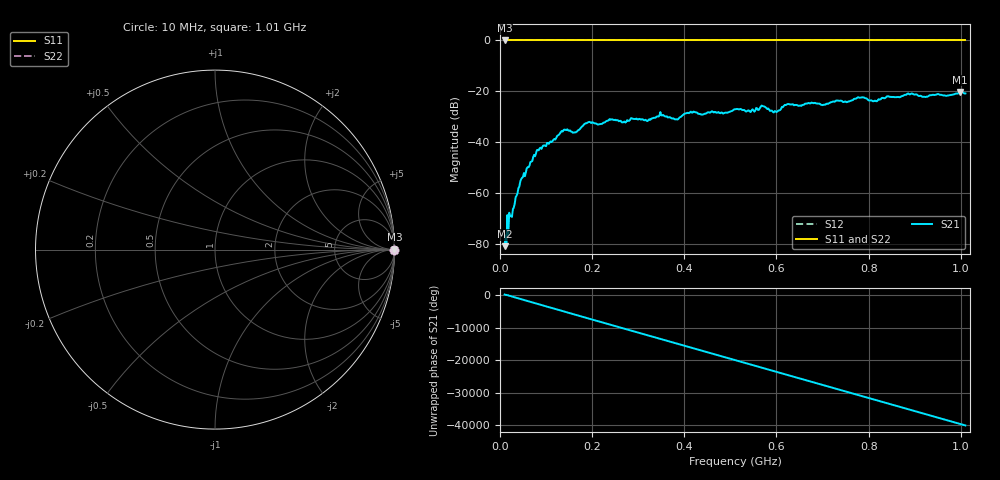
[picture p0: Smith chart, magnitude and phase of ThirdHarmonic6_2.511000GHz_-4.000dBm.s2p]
! 8/17/2025 4:52:44 AM
! C:\ANRITSUVNA\TEMP\TEMP.S2P
! CHANNEL.1
! TR.MEASUREMENT
! RAW.DATA
! RF.CORRECTION.OFF
! AVERAGING.OFF
! IF.BANDWIDTH: 5KHZ
! SWEEPTYPE:  FREQ.SWEEP(Linear)
! Reference Plane Port Info
! PORT:  PORT1  PORT2
! DISTANCE:  0  m  0  m
! TIME:  0  s  0  s
! PHASE.OFFSET:  0  deg.  0  deg.
! LOSS:  0  dB  0  dB
! REF.LOSS:  0  dB  0  dB
! REF.FREQ:  0  Hz  0  Hz
! Power Info
! POWER:  -20  dBm  -20  dBm
! EFF.POWER:  -20  dBm  -20  dBm
! SOURCE.ATTEN:  0  dB  0  dB
! TEST.ATTEN:  0  dB  0  dB
# GHZ S RI R 50.0
! FREQ.GHZ  S11RE  S11IM  S21RE  S21IM  S12RE  S12IM  S22RE  S22IM
!; PortSelection: Port_12
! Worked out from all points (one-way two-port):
!   501 points, 10 MHz to 1.01 GHz, reference 50 ohm
!   highest |S21| = -20.25 dB at 998 MHz (marker M1); lowest = -81.0 dB at 10 MHz (marker M2)
!   lowest |S11| = 0.0 dB at 10 MHz (marker M3)
!   |S11| at or under -10 dB: nowhere
!   |S22| runs from 0.0 to 0.0 dB; largest |S21 - S12| = 1.1
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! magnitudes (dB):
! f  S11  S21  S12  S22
! 10 MHz  0.0  -81.0  0.0  0.0
! 20 MHz  0.0  -67.8  0.0  0.0
! 28 MHz  0.0  -66.4  0.0  0.0
! 44 MHz  0.0  -55.5  0.0  0.0
! 78 MHz  0.0  -44.5  0.0  0.0
! 136 MHz  0.0  -35.8  0.0  0.0
! 162 MHz  0.0  -36.2  0.0  0.0
! 178 MHz  0.0  -33.9  0.0  0.0
! 344 MHz  0.0  -29.9  0.0  0.0
! 382 MHz  0.0  -31.0  0.0  0.0
! 410 MHz  0.0  -28.6  0.0  0.0
! 510 MHz  0.0  -27.1  0.0  0.0
! 548 MHz  0.0  -27.1  0.0  0.0
! 570 MHz  0.0  -25.8  0.0  0.0
! 596 MHz  0.0  -27.8  0.0  0.0
! 622 MHz  0.0  -25.3  0.0  0.0
! 678 MHz  0.0  -24.6  0.0  0.0
! 780 MHz  0.0  -22.6  0.0  0.0
! 814 MHz  0.0  -23.7  0.0  0.0
! 844 MHz  0.0  -22.1  0.0  0.0
! 998 MHz  0.0  -20.2  0.0  0.0
! 1.01 GHz  0.0  -20.8  0.0  0.0
